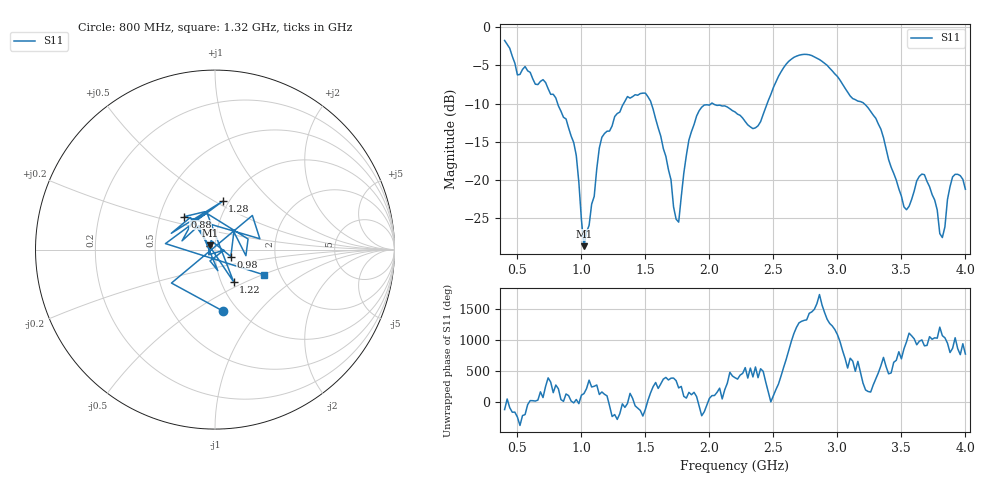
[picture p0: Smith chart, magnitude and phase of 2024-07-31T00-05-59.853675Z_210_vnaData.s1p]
!Created with skrf (http://scikit-rf.org).
# Hz S RI R 50.0
!freq ReS11 ImS11
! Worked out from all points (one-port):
!   181 points, 400 MHz to 4 GHz, reference 50 ohm
!   lowest |S11| = -28.7 dB at 1.02 GHz (marker M1), VSWR 1.08, Z = 47.2 + j2.26 ohm
!   |S11| at or under -10 dB: 814.4 MHz to 1.33 GHz (515.2 MHz wide, 48.1 % of centre); 1.546 GHz to 2.015 GHz (468.5 MHz wide, 26.3 % of centre); 3.208 GHz to end of sweep (the widest 3 of 4)
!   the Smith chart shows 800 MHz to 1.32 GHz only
!   S11 on the Smith chart (normalised r, x): 800 MHz: 0.85, -0.66; 880 MHz: 0.67, +0.26; 980 MHz: 1.19, -0.09; 1.22 GHz: 1.15, -0.43; 1.28 GHz: 0.94, +0.54; 1.32 GHz: 1.65, -0.51
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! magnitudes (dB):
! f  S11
! 400 MHz  -1.7
! 500 MHz  -6.2
! 800 MHz  -9.3
! 860 MHz  -11.8
! 880 MHz  -12.0
! 980 MHz  -20.3
! 1.02 GHz  -28.7
! 1.1 GHz  -22.2
! 1.14 GHz  -15.8
! 1.22 GHz  -13.6
! 1.28 GHz  -11.3
! 1.3 GHz  -11.1
! 1.32 GHz  -10.3
! 1.54 GHz  -9.7
! 1.76 GHz  -25.6
! 1.84 GHz  -14.8
! 1.92 GHz  -10.9
! 2.2 GHz  -11.1
! 2.38 GHz  -12.9
! 2.66 GHz  -3.9
! 2.86 GHz  -4.2
! 3.1 GHz  -9.0
! 3.3 GHz  -11.9
! 3.56 GHz  -23.5
! 3.68 GHz  -19.3
! 3.82 GHz  -27.6
! 3.9 GHz  -19.6
! 4 GHz  -21.2
